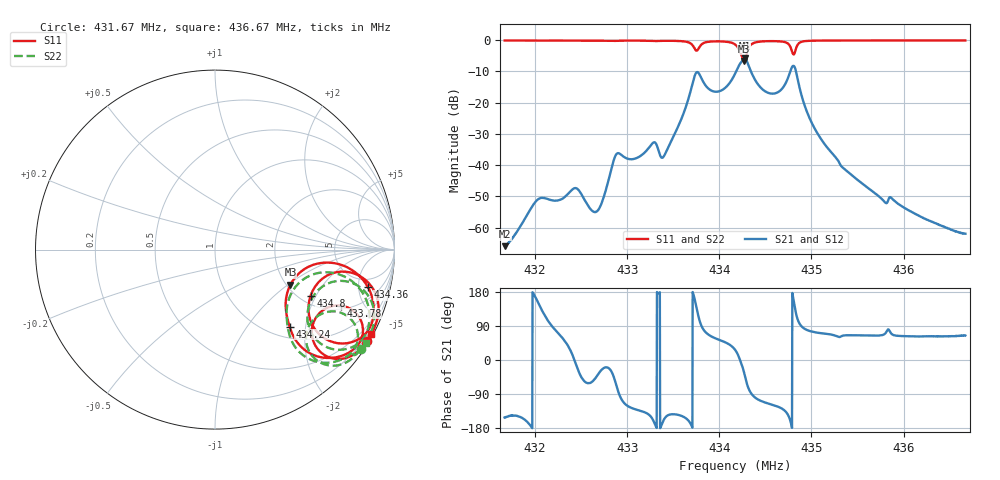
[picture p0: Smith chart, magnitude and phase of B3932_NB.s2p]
! Matrix data file written by TouchstoneData, EPCOS AG
! FILENAME: "B3932_NB.s2p"
! COMMENT: "PINNING 1/4; PORTEX 1=93PS; 2=179.5PS; 13 Ja"
! INFO: nport=2, nfreq=1601
! DATE: "Thu Jun 25 17:21:56 2009"
! USER: "Aleksander Breg"
! port | pin | signal
!  1  |  1  |  input
!  2  |  4  |  output
# MHZ S MA R 50
! freq  magS11 angS11  magS21 angS21  magS12 angS12  magS22 angS22
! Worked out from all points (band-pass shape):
!   1601 points, 431.67 MHz to 436.67 MHz, reference 50 ohm
!   highest |S21| = -5.84 dB at 434.27 MHz (marker M1); lowest = -65.9 dB at 431.67 MHz (marker M2)
!   |S21| within 3 dB of the highest: 434.2008 MHz to 434.3273 MHz (126.5 kHz wide, 0.0291 % of centre); 434.7845 MHz to 434.8207 MHz (36.19 kHz wide, 0.00832 % of centre)
!   lowest |S11| = -6.7 dB at 434.27 MHz (marker M3), VSWR 2.73, Z = 105 - j52.2 ohm
!   |S11| at or under -10 dB: nowhere
!   |S22| runs from -6.2 to -0.1 dB; largest |S21 - S12| = 0.002
!   S11 on the Smith chart (normalised r, x): 431.67 MHz: 0.08, -3.60; 433.78 MHz: 2.20, -3.35; 434.24 MHz: 1.22, -1.63; 434.36 MHz: 3.50, -6.38; 434.8 MHz: 2.28, -1.81; 436.67 MHz: 0.09, -3.95
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431.67  0.9882 -31.0  0.0005074 -151.8  0.0005025 -152.5  0.9856 -34.3
432.0356  0.9853 -31.4  0.00287 150.6  0.002852 150.9  0.9822 -34.6
432.5044  0.9835 -31.7  0.00341 -46.1  0.003398 -45.8  0.9804 -35.0
432.6669  0.9847 -32.0  0.00181 -44.1  0.001802 -43.7  0.982 -35.3
432.8888  0.9753 -32.1  0.01535 -72.2  0.01529 -72.1  0.9696 -35.4
433.3388  0.971 -33.7  0.01745 176.1  0.01737 176.3  0.9685 -36.9
433.4169  0.9786 -34.4  0.01569 -150.7  0.01563 -150.5  0.976 -37.6
433.6825  0.8987 -42.5  0.1433 -165.8  0.1428 -165.7  0.8958 -45.9
433.7825  0.7677 -24.0  0.2873 106.5  0.2864 106.6  0.7615 -27.0
433.9669  0.9577 -32.6  0.1498 56.2  0.1493 56.4  0.9537 -35.5
434.17  0.8567 -44.7  0.2894 27.2  0.2884 27.3  0.8555 -47.2
434.2356  0.597 -45.9  0.4421 -7.4  0.4409 -7.3  0.6037 -47.6
434.27  0.4635 -24.9  0.5086 -34.7  0.5071 -34.6  0.4904 -27.6
434.2731  0.4671 -21.5  0.5103 -37.8  0.5087 -37.7  0.4946 -24.6
434.3575  0.8775 -13.8  0.2832 -91.9  0.2822 -91.8  0.8795 -17.7
434.595  0.9655 -27.4  0.1402 -119.6  0.1397 -119.5  0.9625 -30.7
434.7513  0.8636 -37.2  0.2634 -147.8  0.2626 -147.7  0.8629 -40.0
434.8044  0.5915 -25.9  0.3884 160.4  0.3871 160.5  0.6061 -28.8
435.0044  0.9803 -22.1  0.04711 74.9  0.0469 75.1  0.9784 -25.7
435.3419  0.9883 -25.8  0.009091 64.4  0.00905 64.5  0.9856 -29.2
435.8388  0.9884 -27.4  0.002919 80.1  0.002898 80.2  0.9856 -30.7
436.67  0.9895 -28.4  0.0008022 64.8  0.000795 65.3  0.9867 -31.7
